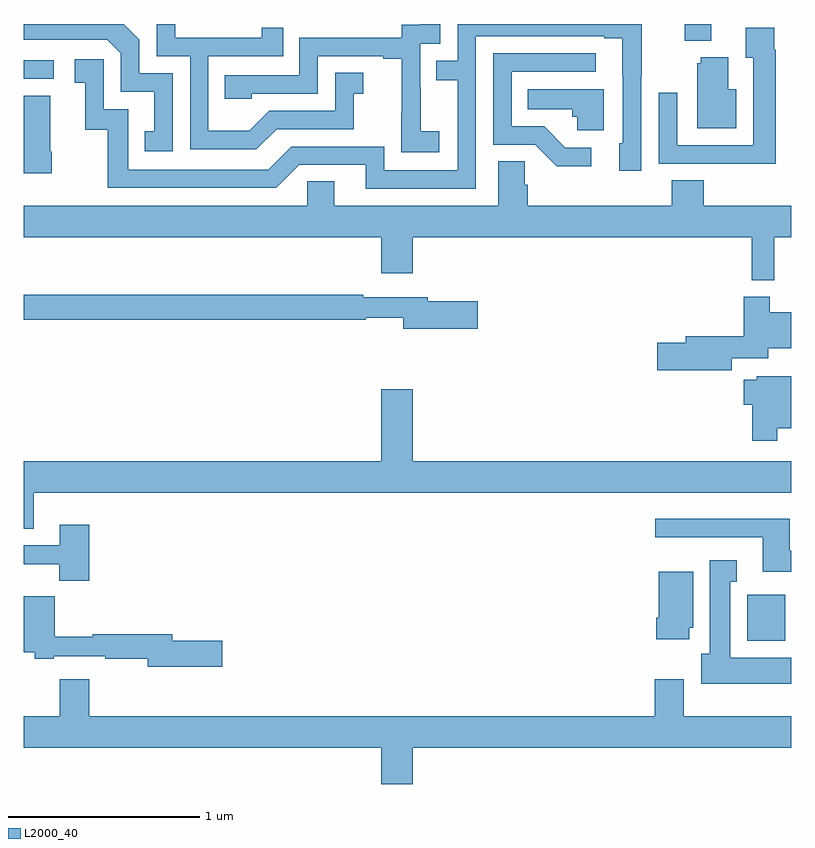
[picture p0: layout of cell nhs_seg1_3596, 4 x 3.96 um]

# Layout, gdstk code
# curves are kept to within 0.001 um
import gdstk
lib = gdstk.Library(unit=1e-6, precision=1e-09)
def R(c, l, rs):  # rectangles x0, y0, x1, y1
    for r in rs: c.add(gdstk.rectangle(r[:2], r[2:], *l))
def P(c, l, *ps):  # polygons
    for p in ps: c.add(gdstk.Polygon(p, *l))
L2000_40 = (2000, 40)

nhs_seg1_3596 = lib.new_cell('nhs_seg1_3596')
R(nhs_seg1_3596, L2000_40, [(310.772,526.982,310.969,527.224), (307,529.914,307.156,530.01), (310.445,530.111,310.585,530.199)])
P(nhs_seg1_3596, L2000_40, [(309.166,529.639),(309.068,529.639),(309.068,529.868),(309.066,529.868),(309.066,530.097),(309.171,530.097),(309.171,530.199),(309.063,530.199),(309.063,530.196),(308.97,530.196),(308.97,530.127),(308.436,530.127),(308.436,529.932),(308.047,529.932),(308.047,529.809),(308.187,529.809),(308.187,529.836),(308.532,529.836),(308.532,530.031),(308.873,530.031),(308.873,530.019),(308.969,530.019),(308.969,529.735),(308.968,529.735),(308.968,529.529),(309.166,529.529)],
  [(309.357,530.136),(310.025,530.136),(310.025,530.124),(310.121,530.124),(310.122,529.578),(310.103,529.578),(310.103,529.434),(310.218,529.434),(310.218,529.927),(310.221,529.927),(310.221,530.199),(309.261,530.199),(309.261,530.007),(309.151,530.007),(309.151,529.906),(309.261,529.906),(309.261,529.437),(308.88,529.437),(308.88,529.56),(308.394,529.56),(308.274,529.44),(307.545,529.44),(307.545,529.755),(307.416,529.755),(307.416,530.014),(307.266,530.014),(307.266,529.893),(307.319,529.893),(307.319,529.647),(307.437,529.647),(307.437,529.344),(308.316,529.344),(308.436,529.464),(308.783,529.464),(308.783,529.341),(309.357,529.341)],
  [(307.776,529.941),(307.602,529.941),(307.602,530.118),(307.521,530.199),(307,530.199),(307,530.118),(307.434,530.118),(307.506,530.046),(307.506,529.845),(307.679,529.845),(307.679,529.641),(307.63,529.641),(307.63,529.536),(307.776,529.536)],
  [(308.317,529.65),(308.721,529.65),(308.721,529.835),(308.77,529.835),(308.77,529.945),(308.622,529.945),(308.622,529.746),(308.28,529.746),(308.176,529.642),(307.962,529.642),(307.962,530.031),(308.351,530.031),(308.351,530.179),(308.24,530.179),(308.24,530.127),(307.789,530.127),(307.789,530.199),(307.692,530.199),(307.692,530.031),(307.866,530.031),(307.866,529.545),(308.212,529.545)],
  [(310.919,530.066),(310.912,530.066),(310.912,530.179),(310.763,530.179),(310.763,530.023),(310.803,530.023),(310.803,529.566),(310.407,529.566),(310.407,529.84),(310.311,529.84),(310.311,529.47),(310.627,529.47),(310.627,529.469),(310.919,529.469)],
  [(309.958,529.554),(309.823,529.554),(309.712,529.665),(309.543,529.665),(309.543,529.95),(309.982,529.95),(309.982,530.046),(309.447,530.046),(309.447,529.569),(309.666,529.569),(309.779,529.457),(309.958,529.457)],
  [(310.714,529.858),(310.672,529.858),(310.672,530.026),(310.529,530.026),(310.529,529.995),(310.511,529.995),(310.511,529.655),(310.714,529.655)],
  [(310.024,529.858),(309.628,529.858),(309.628,529.754),(309.859,529.754),(309.859,529.716),(309.885,529.716),(309.885,529.646),(310.024,529.646)],
  [(307.146,529.534),(307.138,529.534),(307.138,529.825),(307,529.825),(307,529.422),(307.146,529.422)],
  [(310.913,529.088),(311,529.088),(311,529.252),(310.544,529.252),(310.544,529.385),(310.379,529.385),(310.379,529.252),(309.626,529.252),(309.626,529.361),(309.612,529.361),(309.612,529.484),(309.473,529.484),(309.473,529.252),(308.617,529.252),(308.617,529.379),(308.478,529.379),(308.478,529.252),(307,529.252),(307,529.088),(308.864,529.088),(308.864,528.9),(309.028,528.9),(309.028,529.088),(310.795,529.088),(310.795,528.863),(310.913,528.863)],
  [(309.367,528.753),(309.106,528.753),(309.106,528.774),(308.768,528.774),(308.768,528.787),(307,528.787),(307,528.658),(308.782,528.658),(308.782,528.666),(308.978,528.666),(308.978,528.611),(309.367,528.611)],
  [(310.69,528.456),(310.882,528.456),(310.882,528.509),(311,528.509),(311,528.697),(310.888,528.697),(310.888,528.778),(310.754,528.778),(310.754,528.572),(310.451,528.572),(310.451,528.536),(310.302,528.536),(310.302,528.394),(310.69,528.394)],
  [(310.927,528.092),(311,528.092),(311,528.361),(310.821,528.361),(310.821,528.343),(310.754,528.343),(310.754,528.214),(310.798,528.214),(310.798,528.027),(310.927,528.027)],
  [(307.051,527.756),(311,527.756),(311,527.92),(309.028,527.92),(309.028,528.295),(308.864,528.295),(308.864,527.92),(307,527.92),(307,527.566),(307.051,527.566)],
  [(311,527.452),(310.993,527.452),(310.993,527.62),(310.293,527.62),(310.293,527.523),(310.853,527.523),(310.853,527.342),(311,527.342)],
  [(307.34,527.587),(307.187,527.587),(307.187,527.481),(307,527.481),(307,527.382),(307.185,527.382),(307.185,527.297),(307.34,527.297)],
  [(311,526.894),(310.684,526.894),(310.684,527.291),(310.717,527.291),(310.717,527.404),(310.577,527.404),(310.577,526.914),(310.532,526.914),(310.532,526.76),(311,526.76)],
  [(310.468,527.052),(310.489,527.052),(310.489,527.344),(310.31,527.344),(310.31,527.104),(310.298,527.104),(310.298,526.992),(310.468,526.992)],
  [(308.035,526.982),(307.774,526.982),(307.774,527.018),(307.358,527.018),(307.358,527.003),(307.16,527.003),(307.16,527.215),(307,527.215),(307,526.922),(307.056,526.922),(307.056,526.89),(307.156,526.89),(307.156,526.902),(307.423,526.902),(307.423,526.89),(307.646,526.89),(307.646,526.847),(308.035,526.847)],
  [(309.028,526.424),(311,526.424),(311,526.588),(310.441,526.588),(310.441,526.783),(310.289,526.783),(310.289,526.588),(307.34,526.588),(307.34,526.783),(307.187,526.783),(307.187,526.588),(307,526.588),(307,526.424),(308.864,526.424),(308.864,526.236),(309.028,526.236)])

lib.write_gds('nhs_seg1_3596.gds')
